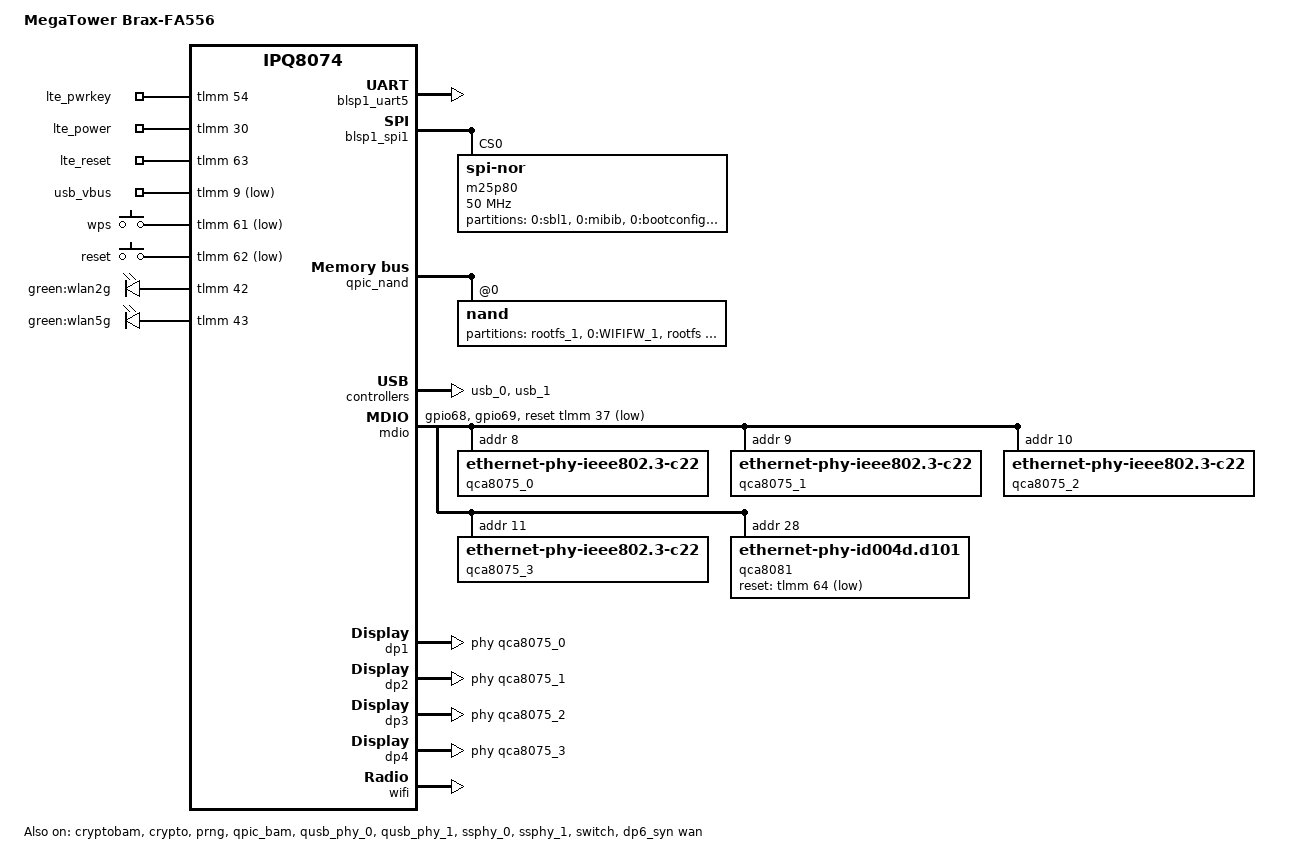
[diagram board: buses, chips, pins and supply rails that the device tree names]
// SPDX-License-Identifier: GPL-2.0-or-later OR MIT

/dts-v1/;

#include "ipq8074.dtsi"
#include "ipq8074-hk-cpu.dtsi"
#include "ipq8074-ess.dtsi"
#include "ipq8074-nss.dtsi"
#include <dt-bindings/gpio/gpio.h>
#include <dt-bindings/input/input.h>

/ {
	model = "MegaTower Brax-FA556";
	compatible = "megatower,brax-fa556", "qcom,ipq8074";

	aliases {
		//led-boot = &led_power;
		//led-failsafe = &led_power;
		//led-running = &led_power;
		//led-upgrade = &led_power;
		serial0 = &blsp1_uart5;
		/*
		 * Aliases as required by u-boot
		 * to patch MAC addresses
		 */
		ethernet0 = &dp1;
		ethernet1 = &dp2;
		ethernet2 = &dp3;
		ethernet3 = &dp4;
		ethernet4 = &dp6_syn;
		label-mac-device = &dp1;
	};

	chosen {
		stdout-path = "serial0:115200n8";
		bootargs-append = " root=/dev/ubiblock0_1";
	};

	gpio-export {
		compatible = "gpio-export";

		lte-pwrkey {
			gpio-export,name = "lte_pwrkey";
			gpio-export,output = <1>;
			gpios = <&tlmm 54 GPIO_ACTIVE_HIGH>;
		};

		lte-power {
			gpio-export,name = "lte_power";
			gpio-export,output = <1>;
			gpios = <&tlmm 30 GPIO_ACTIVE_HIGH>;
		};

		lte-reset {
			gpio-export,name = "lte_reset";
			gpio-export,output = <1>;
			gpios = <&tlmm 63 GPIO_ACTIVE_HIGH>;
		};

		usb-vbus {
			gpio-export,name = "usb_vbus";
			gpio-export,output = <0>;
			gpios = <&tlmm 9 GPIO_ACTIVE_LOW>;
		};
	};

	keys {
		compatible = "gpio-keys";


		wps {
			label = "wps";
			linux,code = <KEY_WPS_BUTTON>;
			gpios = <&tlmm 61 GPIO_ACTIVE_LOW>;
		};

		reset {
			label = "reset";
			linux,code = <KEY_RESTART>;
			gpios = <&tlmm 62 GPIO_ACTIVE_LOW>;
		};
	};

	leds {
		compatible = "gpio-leds";

		wlan2g {
			label = "green:wlan2g";
			gpios = <&tlmm 42 GPIO_ACTIVE_HIGH>;
			linux,default-trigger = "phy1radio";
		};

		wlan5g {
			label = "green:wlan5g";
			gpios = <&tlmm 43 GPIO_ACTIVE_HIGH>;
			linux,default-trigger = "phy0radio";
		};
	};
};

&tlmm {
	mdio_pins: mdio-pins {
		mdc {
			pins = "gpio68";
			function = "mdc";
			drive-strength = <8>;
			bias-pull-up;
		};

		mdio {
			pins = "gpio69";
			function = "mdio";
			drive-strength = <8>;
			bias-pull-up;
		};
	};
};

&blsp1_uart5 {
	status = "okay";
};

&cryptobam {
	status = "okay";
};

&crypto {
	status = "okay";
};

&prng {
	status = "okay";
};

&qpic_bam {
	status = "okay";
};

&blsp1_spi1 {
	pinctrl-0 = <&spi_0_pins>;
	pinctrl-names = "default";
	cs-select = <0>;
	status = "okay";

	m25p80@0 {
		#address-cells = <1>;
		#size-cells = <1>;
		reg = <0>;
		compatible = "jedec,spi-nor";
		spi-max-frequency = <50000000>;
		use-default-sizes;

		partitions {
			compatible = "fixed-partitions";
			#address-cells = <1>;
			#size-cells = <1>;

			partition@0 {
				label = "0:sbl1";
				reg = <0x0 0x50000>;
				read-only;
			};

			partition@50000 {
				label = "0:mibib";
				reg = <0x50000 0x10000>;
				read-only;
			};

			partition@60000 {
				label = "0:bootconfig";
				reg = <0x60000 0x20000>;
				read-only;
			};

			partition@80000 {
				label = "0:bootconfig1";
				reg = <0x80000 0x20000>;
				read-only;
			};

			partition@a0000 {
				label = "0:qsee";
				reg = <0xa0000 0x180000>;
				read-only;
			};

			partition@220000 {
				label = "0:qsee_1";
				reg = <0x220000 0x180000>;
				read-only;
			};

			partition@3a0000 {
				label = "0:devcfg";
				reg = <0x3a0000 0x10000>;
				read-only;
			};

			partition@3b0000 {
				label = "0:devcfg_1";
				reg = <0x3b0000 0x10000>;
				read-only;
			};

			partition@3c0000 {
				label = "0:apdp";
				reg = <0x3c0000 0x10000>;
				read-only;
			};

			partition@3d0000 {
				label = "0:apdp_1";
				reg = <0x3d0000 0x10000>;
				read-only;
			};

			partition@3e0000 {
				label = "0:rpm";
				reg = <0x3e0000 0x40000>;
				read-only;
			};

			partition@420000 {
				label = "0:rpm_1";
				reg = <0x420000 0x40000>;
				read-only;
			};

			partition@460000 {
				label = "0:cdt";
				reg = <0x460000 0x10000>;
				read-only;
			};

			partition@470000 {
				label = "0:cdt_1";
				reg = <0x470000 0x10000>;
				read-only;
			};

			partition@480000 {
				label = "0:appsblenv";
				reg = <0x480000 0x10000>;
			};

			partition@490000 {
				label = "0:appsbl";
				reg = <0x490000 0xa0000>;
				read-only;
			};

			partition@530000 {
				label = "0:appsbl_1";
				reg = <0x530000 0xa0000>;
				read-only;
			};

			partition@5d0000 {
				label = "0:art";
				reg = <0x5d0000 0x40000>;
				read-only;
			};

			partition@610000 {
				label = "0:ethphyfw";
				reg = <0x610000 0x80000>;
				read-only;
			};
		};
	};
};

&qpic_nand {
	status = "okay";

	partitions {
		status = "disabled";
	};

	nand@0 {
		reg = <0>;
		nand-ecc-strength = <8>;
		nand-ecc-step-size = <512>;
		nand-bus-width = <8>;

		partitions {
	                compatible = "fixed-partitions";
	                #address-cells = <1>;
	                #size-cells = <1>;
	
	                partition@0 {
	                    label = "rootfs_1";
	                    reg = <0x00000000 0x07400000>;
	                };
	                partition@7400000 {
	                    label = "0:WIFIFW_1";
	                    reg = <0x07400000 0x00800000>;
	                };
	                partition@7c00000 {
	                    label = "rootfs";
	                    reg = <0x07c00000 0x07400000>;
	                };
	                partition@f000000 {
	                    label = "0:WIFIFW";
	                    reg = <0x0f000000 0x00800000>;
	                };
	                partition@f800000 {
	                    label = "0:TEST";
	                    reg = <0x0f800000 0x00080000>;
	                };
	                partition@f880000 {
	                    label = "0:RESET";
	                    reg = <0x0f880000 0x00080000>;
	                };
		};
	};
};

&qusb_phy_0 {
	status = "okay";
};

&qusb_phy_1 {
	status = "okay";
};

&ssphy_0 {
	status = "okay";
};

&ssphy_1 {
	status = "okay";
};

&usb_0 {
	status = "okay";
};

&usb_1 {
	status = "okay";
};

&mdio {
	status = "okay";

	pinctrl-0 = <&mdio_pins>;
	pinctrl-names = "default";
	reset-gpios = <&tlmm 37 GPIO_ACTIVE_LOW>;

	qca8075_0: ethernet-phy@0 {
		compatible = "ethernet-phy-ieee802.3-c22";
		reg = <8>;
	};

	qca8075_1: ethernet-phy@1 {
		compatible = "ethernet-phy-ieee802.3-c22";
		reg = <9>;
	};

	qca8075_2: ethernet-phy@2 {
		compatible = "ethernet-phy-ieee802.3-c22";
		reg = <10>;
	};

	qca8075_3: ethernet-phy@3 {
		compatible = "ethernet-phy-ieee802.3-c22";
		reg = <11>;
	};

	qca8081: ethernet-phy@28 {
		compatible = "ethernet-phy-id004d.d101";
		reg = <28>;
		reset-gpios = <&tlmm 64 GPIO_ACTIVE_LOW>;
	};
};

&switch {
	status = "okay";

	switch_cpu_bmp = <0x1>;  /* cpu port bitmap */
	switch_lan_bmp = <0x3e>; /* lan port bitmap */
	switch_wan_bmp = <0x40>; /* wan port bitmap */
	switch_mac_mode = <0x0>; /* mac mode for uniphy instance0*/
	switch_mac_mode1 = <0xff>; /* mac mode for uniphy instance1*/
	switch_mac_mode2 = <0xf>; /* mac mode for uniphy instance2*/
	bm_tick_mode = <0>; /* bm tick mode */
	tm_tick_mode = <0>; /* tm tick mode */

	qcom,port_phyinfo {
		port@0 {
			port_id = <1>;
			phy_address = <8>;
		};
		port@1 {
			port_id = <2>;
			phy_address = <9>;
		};
		port@2 {
			port_id = <3>;
			phy_address = <10>;
		};
		port@3 {
			port_id = <4>;
			phy_address = <11>;
		};
		port@4 {
			port_id = <5>;
			phy_address = <12>;
		};
		port@5 {
			port_id = <6>;
			phy_address = <28>;
			port_mac_sel = "QGMAC_PORT";
		};
	};
};

&edma {
	status = "okay";
};

&dp1 {
	status = "okay";
	phy-handle = <&qca8075_0>;
	label = "lan1";
};

&dp2 {
	status = "okay";
	phy-handle = <&qca8075_1>;
	label = "lan2";
};

&dp3 {
	status = "okay";
	phy-handle = <&qca8075_2>;
	label = "lan3";
};

&dp4 {
	status = "okay";
	phy-handle = <&qca8075_3>;
	label = "lan4";
};

&dp6_syn {
	status = "okay";
	phy-handle = <&qca8081>;
	label = "wan";
};

&wifi {
	status = "okay";
	qcom,board_id = <0x290>;
	qcom,ath11k-calibration-variant = "MegaTower-Brax-FA556";
};
